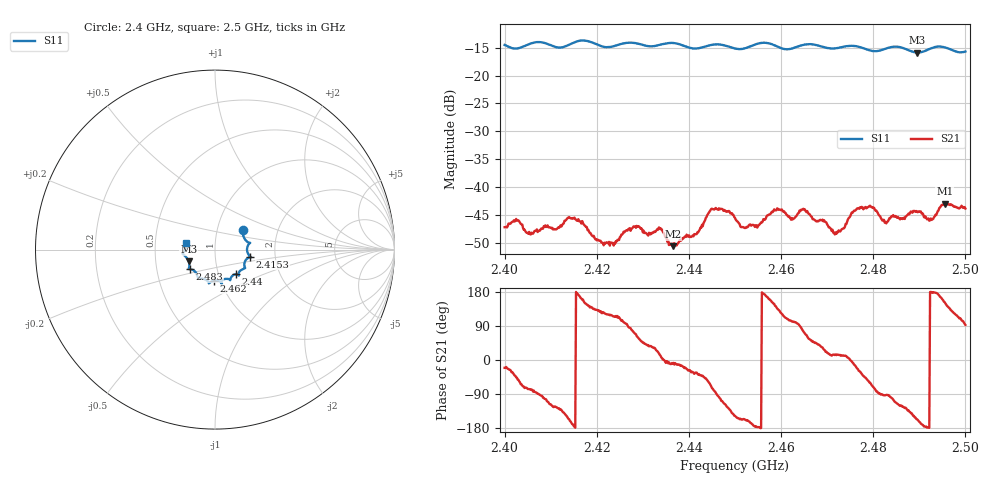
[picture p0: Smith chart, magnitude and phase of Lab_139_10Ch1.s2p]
# Hz S RI R 50
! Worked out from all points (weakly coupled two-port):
!   601 points, 2.4 GHz to 2.5 GHz, reference 50 ohm
!   highest |S21| = -42.99 dB at 2.4955 GHz (marker M1); lowest = -50.6 dB at 2.4365 GHz (marker M2)
!   lowest |S11| = -15.9 dB at 2.4895 GHz (marker M3), VSWR 1.38, Z = 36.9 - j5 ohm
!   |S11| at or under -10 dB: start of sweep to end of sweep
!   S12 and S22 are empty: the file has one direction only
!   S11 on the Smith chart (normalised r, x): 2.4 GHz: 1.33, +0.29; 2.4153 GHz: 1.48, -0.12; 2.44 GHz: 1.21, -0.34; 2.462 GHz: 0.93, -0.33; 2.483 GHz: 0.74, -0.17; 2.5 GHz: 0.72, +0.06
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2.4e9  0.1553 0.1066  0.00407 -0.00154  0 0  0 0
2.405667e9  0.1899 0.0385  0.000737 -0.00367  0 0  0 0
2.415333e9  0.1961 -0.0385  -0.00513 -0.000111  0 0  0 0
2.416667e9  0.2018 -0.0425  -0.00446 0.00144  0 0  0 0
2.4215e9  0.1713 -0.0584  -0.00173 0.00244  0 0  0 0
2.433333e9  0.1312 -0.1336  0.00387 0.00144  0 0  0 0
2.4365e9  0.1328 -0.1444  0.00289 -0.000525  0 0  0 0
2.44e9  0.1142 -0.1368  0.00325 -0.00172  0 0  0 0
2.445333e9  0.0846 -0.1697  0.00119 -0.00619  0 0  0 0
2.45e9  0.0645 -0.1626  -0.00445 -0.00284  0 0  0 0
2.451833e9  0.0454 -0.1681  -0.00397 -0.0018  0 0  0 0
2.459e9  0.0308 -0.1806  -0.00466 0.00407  0 0  0 0
2.462e9  -0.00506 -0.1732  -0.00133 0.00512  0 0  0 0
2.466667e9  -0.0343 -0.1877  0.00352 0.00409  0 0  0 0
2.471833e9  -0.068 -0.1618  0.00378 0.000976  0 0  0 0
2.477e9  -0.0961 -0.153  0.00555 -0.00312  0 0  0 0
2.483e9  -0.1376 -0.1095  -0.000159 -0.00486  0 0  0 0
2.483333e9  -0.1401 -0.1095  -0.000217 -0.00503  0 0  0 0
2.4895e9  -0.1464 -0.0659  -0.00549 -0.0024  0 0  0 0
2.492667e9  -0.1737 -0.0294  -0.00505 7.74e-05  0 0  0 0
2.4955e9  -0.1783 -0.0176  -0.00629 0.00327  0 0  0 0
2.5e9  -0.1594 0.0391  -0.000299 0.00639  0 0  0 0
